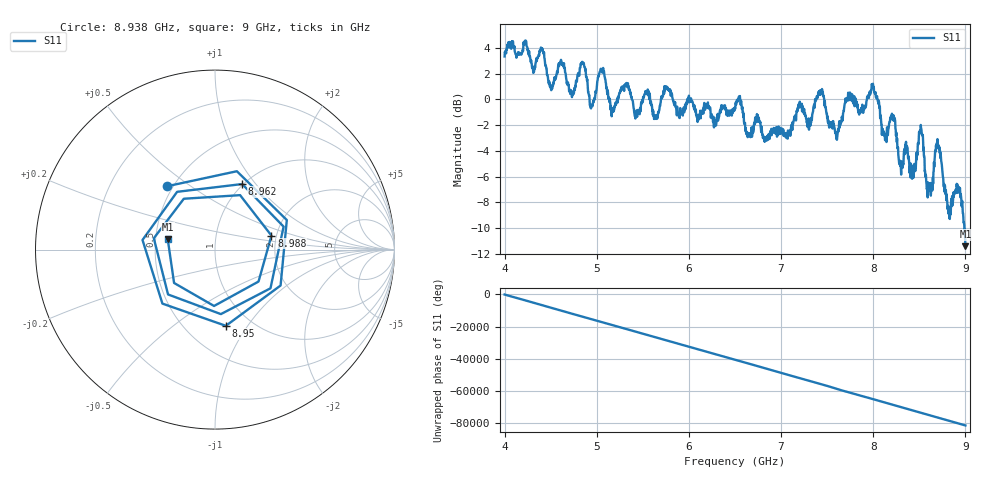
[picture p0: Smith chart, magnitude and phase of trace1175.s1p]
! Created with skrf 1.8.0 (http://scikit-rf.org).
# Hz S RI R 50.0
!freq ReS11 ImS11
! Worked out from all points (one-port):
!   1601 points, 4 GHz to 9 GHz, reference 50 ohm
!   lowest |S11| = -11.4 dB at 9 GHz (marker M1), VSWR 1.74, Z = 29 + j3.57 ohm
!   |S11| at or under -10 dB: 8.988991 GHz to end of sweep
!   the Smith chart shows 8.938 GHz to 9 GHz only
!   S11 on the Smith chart (normalised r, x): 8.938 GHz: 0.47, +0.41; 8.95 GHz: 0.77, -0.80; 8.962 GHz: 0.99, +0.86; 8.988 GHz: 1.88, +0.33; 9 GHz: 0.58, +0.07
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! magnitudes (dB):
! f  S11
! 4 GHz  3.3
! 4.625 GHz  2.7
! 4.728 GHz  0.5
! 4.853 GHz  2.8
! 4.947 GHz  -0.5
! 5.053 GHz  2.2
! 5.169 GHz  -0.9
! 5.25 GHz  0.5
! 5.875 GHz  -0.9
! 6.5 GHz  -0.7
! 7.125 GHz  -1.8
! 7.428 GHz  0.4
! 7.603 GHz  -2.9
! 7.75 GHz  0.5
! 8 GHz  1.0
! 8.119 GHz  -2.8
! 8.212 GHz  -1.2
! 8.375 GHz  -4.2
! 8.438 GHz  -6.0
! 8.516 GHz  -2.0
! 8.603 GHz  -7.1
! 8.7 GHz  -3.5
! 8.816 GHz  -8.9
! 8.938 GHz  -7.1
! 8.95 GHz  -7.4
! 8.962 GHz  -8.1
! 8.988 GHz  -9.8
! 9 GHz  -11.4
